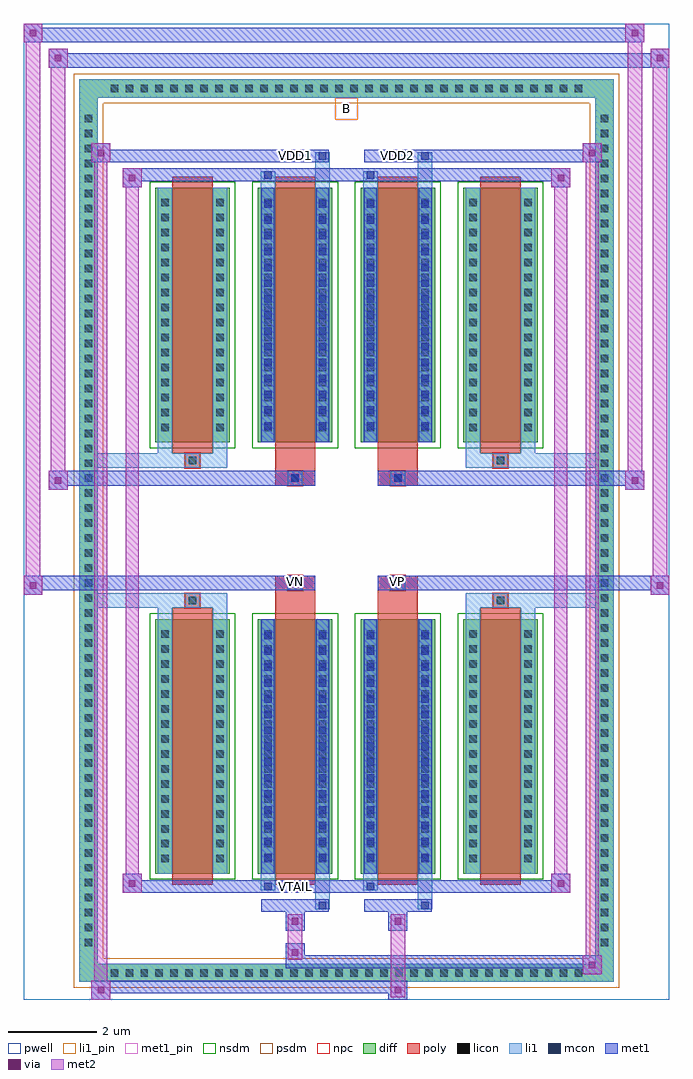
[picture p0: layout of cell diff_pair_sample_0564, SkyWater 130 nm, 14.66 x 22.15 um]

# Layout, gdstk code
import gdstk
lib = gdstk.Library(unit=1e-6, precision=5e-09)
def R(c, l, rs):  # rectangles x0, y0, x1, y1
    for r in rs: c.add(gdstk.rectangle(r[:2], r[2:], *l))
def A(c, l, x, y, w, h, nx, ny, dx, dy):  # array of equal rectangles
    R(c, l, [(x+i*dx, y+j*dy, x+i*dx+w, y+j*dy+h) for i in range(nx) for j in range(ny)])
def P(c, l, *ps):  # polygons
    for p in ps: c.add(gdstk.Polygon(p, *l))
pwell = (64, 44)
diff = (65, 20)
poly = (66, 20)
licon = (66, 44)
li1_pin = (67, 16)
li1 = (67, 20)
mcon = (67, 44)
met1_pin = (68, 16)
met1 = (68, 20)
via = (68, 44)
met2 = (69, 20)
nsdm = (93, 44)
psdm = (94, 20)
npc = (95, 20)

diff_pair_sample_0564 = lib.new_cell('diff_pair_sample_0564')
R(diff_pair_sample_0564, pwell, [(-7.33,-10.64,7.33,11.51), (-4.65,-8.83,-0.01,-0.825), (0.01,-8.83,4.65,-0.825), (-4.65,0.825,-0.01,8.83), (0.01,0.825,4.65,8.83)])
A(diff_pair_sample_0564, diff, -5.475, -10.24, 0.41, 0.41, 32, 2, 0.34, 20.07)
A(diff_pair_sample_0564, diff, -6.06, -9.555, 0.41, 0.41, 1, 56, 0, 0.34)
A(diff_pair_sample_0564, diff, 5.65, -9.555, 0.41, 0.41, 1, 56, 0, 0.34)
A(diff_pair_sample_0564, diff, -4.34, -7.785, 1.69, 5.78, 4, 2, 2.33, 9.79)
R(diff_pair_sample_0564, diff, [(-5.475,-10.24,5.475,-9.83), (-6.06,-9.555,-5.65,9.555), (5.65,-9.555,6.06,9.555), (-5.475,9.83,5.475,10.24)])
P(diff_pair_sample_0564, diff, [(6.06,10.24),(-6.06,10.24),(-6.06,-9.83),(-5.65,-9.83),(-5.65,9.83),(5.65,9.83),(5.65,-9.83),(-5.65,-9.83),(-6.06,-9.83),(-6.06,-10.24),(6.06,-10.24)])
A(diff_pair_sample_0564, poly, -3.95, -8.035, 0.91, 6.28, 4, 2, 2.33, 9.79)
R(diff_pair_sample_0564, poly, [(-3.66,-1.755,-3.33,-1.425), (-3.66,-1.755,-3.33,-1.425), (-1.62,-1.755,-0.71,-1.355), (0.71,-1.755,1.62,-1.355), (3.33,-1.755,3.66,-1.425), (3.33,-1.755,3.66,-1.425), (-1.62,-1.355,-0.71,-1.025), (-1.33,-1.355,-1,-1.025), (0.71,-1.355,1.62,-1.025), (1,-1.355,1.33,-1.025), (-1.62,1.025,-0.71,1.355), (-1.33,1.025,-1,1.355), (0.71,1.025,1.62,1.355), (1,1.025,1.33,1.355), (-1.62,1.355,-0.71,1.755), (0.71,1.355,1.62,1.755), (-3.66,1.425,-3.33,1.755), (-3.66,1.425,-3.33,1.755), (3.33,1.425,3.66,1.755), (3.33,1.425,3.66,1.755)])
A(diff_pair_sample_0564, licon, -5.355, -10.12, 0.17, 0.17, 32, 2, 0.34, 20.07)
A(diff_pair_sample_0564, licon, -5.94, -9.435, 0.17, 0.17, 1, 56, 0, 0.34)
A(diff_pair_sample_0564, licon, 5.77, -9.435, 0.17, 0.17, 1, 56, 0, 0.34)
A(diff_pair_sample_0564, licon, -4.2, -7.53, 0.17, 0.17, 1, 16, 0, 0.34)
A(diff_pair_sample_0564, licon, -2.96, -7.53, 0.17, 0.17, 1, 16, 0, 0.34)
A(diff_pair_sample_0564, licon, -1.87, -7.53, 0.17, 0.17, 1, 16, 0, 0.34)
A(diff_pair_sample_0564, licon, -0.63, -7.53, 0.17, 0.17, 1, 16, 0, 0.34)
A(diff_pair_sample_0564, licon, 0.46, -7.53, 0.17, 0.17, 1, 16, 0, 0.34)
A(diff_pair_sample_0564, licon, 1.7, -7.53, 0.17, 0.17, 1, 16, 0, 0.34)
A(diff_pair_sample_0564, licon, 2.79, -7.53, 0.17, 0.17, 1, 16, 0, 0.34)
A(diff_pair_sample_0564, licon, 4.03, -7.53, 0.17, 0.17, 1, 16, 0, 0.34)
A(diff_pair_sample_0564, licon, -4.2, 2.26, 0.17, 0.17, 1, 16, 0, 0.34)
A(diff_pair_sample_0564, licon, -2.96, 2.26, 0.17, 0.17, 1, 16, 0, 0.34)
A(diff_pair_sample_0564, licon, -1.87, 2.26, 0.17, 0.17, 1, 16, 0, 0.34)
A(diff_pair_sample_0564, licon, -0.63, 2.26, 0.17, 0.17, 1, 16, 0, 0.34)
A(diff_pair_sample_0564, licon, 0.46, 2.26, 0.17, 0.17, 1, 16, 0, 0.34)
A(diff_pair_sample_0564, licon, 1.7, 2.26, 0.17, 0.17, 1, 16, 0, 0.34)
A(diff_pair_sample_0564, licon, 2.79, 2.26, 0.17, 0.17, 1, 16, 0, 0.34)
A(diff_pair_sample_0564, licon, 4.03, 2.26, 0.17, 0.17, 1, 16, 0, 0.34)
R(diff_pair_sample_0564, licon, [(-3.58,-1.675,-3.41,-1.505), (3.41,-1.675,3.58,-1.505), (-1.25,-1.275,-1.08,-1.105), (1.08,-1.275,1.25,-1.105), (-1.25,1.105,-1.08,1.275), (1.08,1.105,1.25,1.275), (-3.58,1.505,-3.41,1.675), (3.41,1.505,3.58,1.675)])
R(diff_pair_sample_0564, li1_pin, [(-0.25,9.33,0.25,9.83)])
A(diff_pair_sample_0564, li1, -5.435, -10.2, 0.33, 0.33, 32, 2, 0.34, 20.07)
A(diff_pair_sample_0564, li1, -6.02, -9.515, 0.33, 0.33, 1, 56, 0, 0.34)
A(diff_pair_sample_0564, li1, 5.69, -9.515, 0.33, 0.33, 1, 56, 0, 0.34)
A(diff_pair_sample_0564, li1, -4.28, -7.61, 0.33, 0.33, 1, 16, 0, 0.34)
A(diff_pair_sample_0564, li1, -3.04, -7.61, 0.33, 0.33, 1, 16, 0, 0.34)
A(diff_pair_sample_0564, li1, -1.95, -7.61, 0.33, 0.33, 1, 16, 0, 0.34)
A(diff_pair_sample_0564, li1, -0.71, -7.61, 0.33, 0.33, 1, 16, 0, 0.34)
A(diff_pair_sample_0564, li1, 0.38, -7.61, 0.33, 0.33, 1, 16, 0, 0.34)
A(diff_pair_sample_0564, li1, 1.62, -7.61, 0.33, 0.33, 1, 16, 0, 0.34)
A(diff_pair_sample_0564, li1, 2.71, -7.61, 0.33, 0.33, 1, 16, 0, 0.34)
A(diff_pair_sample_0564, li1, 3.95, -7.61, 0.33, 0.33, 1, 16, 0, 0.34)
A(diff_pair_sample_0564, li1, -1.87, -7.5, 0.17, 0.17, 1, 15, 0, 0.36)
A(diff_pair_sample_0564, li1, -0.63, -7.5, 0.17, 0.17, 1, 15, 0, 0.36)
A(diff_pair_sample_0564, li1, 0.46, -7.5, 0.17, 0.17, 1, 15, 0, 0.36)
A(diff_pair_sample_0564, li1, 1.7, -7.5, 0.17, 0.17, 1, 15, 0, 0.36)
A(diff_pair_sample_0564, li1, -4.28, 2.18, 0.33, 0.33, 1, 16, 0, 0.34)
A(diff_pair_sample_0564, li1, -3.04, 2.18, 0.33, 0.33, 1, 16, 0, 0.34)
A(diff_pair_sample_0564, li1, -1.95, 2.18, 0.33, 0.33, 1, 16, 0, 0.34)
A(diff_pair_sample_0564, li1, -0.71, 2.18, 0.33, 0.33, 1, 16, 0, 0.34)
A(diff_pair_sample_0564, li1, 0.38, 2.18, 0.33, 0.33, 1, 16, 0, 0.34)
A(diff_pair_sample_0564, li1, 1.62, 2.18, 0.33, 0.33, 1, 16, 0, 0.34)
A(diff_pair_sample_0564, li1, 2.71, 2.18, 0.33, 0.33, 1, 16, 0, 0.34)
A(diff_pair_sample_0564, li1, 3.95, 2.18, 0.33, 0.33, 1, 16, 0, 0.34)
A(diff_pair_sample_0564, li1, -1.87, 2.29, 0.17, 0.17, 1, 15, 0, 0.36)
A(diff_pair_sample_0564, li1, -0.63, 2.29, 0.17, 0.17, 1, 15, 0, 0.36)
A(diff_pair_sample_0564, li1, 0.46, 2.29, 0.17, 0.17, 1, 15, 0, 0.36)
A(diff_pair_sample_0564, li1, 1.7, 2.29, 0.17, 0.17, 1, 15, 0, 0.36)
R(diff_pair_sample_0564, li1, [(-6.06,-10.24,-5.65,-9.83), (-6.06,-10.24,-5.65,-9.83), (-5.65,-10.24,5.65,-9.83), (5.65,-10.24,6.06,-9.83), (5.65,-10.24,6.06,-9.83), (-6.06,-9.83,-5.65,9.83), (5.65,-9.83,6.06,9.83), (-0.71,-8.59,-0.38,-7.785), (-0.63,-8.59,-0.46,-8.42), (1.62,-8.59,1.95,-7.785), (1.7,-8.59,1.87,-8.42), (-1.95,-8.16,-1.62,-7.785), (-1.87,-8.16,-1.7,-7.99), (0.38,-8.16,0.71,-7.785), (0.46,-8.16,0.63,-7.99), (-4.28,-7.785,-3.95,-2.005), (-3.04,-7.785,-2.71,-2.005), (-1.95,-7.785,-1.62,-2.005), (-0.71,-7.785,-0.38,-2.005), (0.38,-7.785,0.71,-2.005), (1.62,-7.785,1.95,-2.005), (2.71,-7.785,3.04,-2.005), (3.95,-7.785,4.28,-2.005), (-1.87,-7.5,-1.7,-2.29), (-0.63,-7.5,-0.46,-2.29), (0.46,-7.5,0.63,-2.29), (1.7,-7.5,1.87,-2.29), (-4.28,-2.005,-3.95,-1.425), (-3.04,-2.005,-2.71,-1.425), (2.71,-2.005,3.04,-1.425), (3.95,-2.005,4.28,-1.425), (-6.06,-1.755,-3.66,-1.425), (-4.28,-1.755,-3.66,-1.425), (-3.66,-1.755,-3.33,-1.425), (-3.33,-1.755,-2.71,-1.425), (2.71,-1.755,3.33,-1.425), (3.33,-1.755,3.66,-1.425), (3.33,-1.755,6.06,-1.425), (3.66,-1.755,4.28,-1.425), (-1.33,-1.355,-1,-1.025), (1,-1.355,1.33,-1.025), (-1.33,1.025,-1,1.355), (1,1.025,1.33,1.355), (-6.06,1.425,-3.66,1.755), (-4.28,1.425,-3.66,1.755), (-4.28,1.425,-3.95,2.005), (-3.66,1.425,-3.33,1.755), (-3.33,1.425,-2.71,1.755), (-3.04,1.425,-2.71,2.005), (2.71,1.425,3.33,1.755), (2.71,1.425,3.04,2.005), (3.33,1.425,3.66,1.755), (3.33,1.425,6.06,1.755), (3.66,1.425,4.28,1.755), (3.95,1.425,4.28,2.005), (-4.28,2.005,-3.95,7.785), (-3.04,2.005,-2.71,7.785), (-1.95,2.005,-1.62,7.785), (-0.71,2.005,-0.38,7.785), (0.38,2.005,0.71,7.785), (1.62,2.005,1.95,7.785), (2.71,2.005,3.04,7.785), (3.95,2.005,4.28,7.785), (-1.87,2.29,-1.7,7.5), (-0.63,2.29,-0.46,7.5), (0.46,2.29,0.63,7.5), (1.7,2.29,1.87,7.5), (-1.95,7.785,-1.62,8.16), (-0.71,7.785,-0.38,8.59), (0.38,7.785,0.71,8.16), (1.62,7.785,1.95,8.59), (-1.87,7.99,-1.7,8.16), (0.46,7.99,0.63,8.16), (-0.63,8.42,-0.46,8.59), (1.7,8.42,1.87,8.59), (-6.06,9.83,-5.65,10.24), (-6.06,9.83,-5.65,10.24), (-5.65,9.83,5.65,10.24), (5.65,9.83,6.06,10.24), (5.65,9.83,6.06,10.24)])
A(diff_pair_sample_0564, mcon, -1.87, -7.5, 0.17, 0.17, 1, 15, 0, 0.36)
A(diff_pair_sample_0564, mcon, -0.63, -7.5, 0.17, 0.17, 1, 15, 0, 0.36)
A(diff_pair_sample_0564, mcon, 0.46, -7.5, 0.17, 0.17, 1, 15, 0, 0.36)
A(diff_pair_sample_0564, mcon, 1.7, -7.5, 0.17, 0.17, 1, 15, 0, 0.36)
A(diff_pair_sample_0564, mcon, -1.87, 2.29, 0.17, 0.17, 1, 15, 0, 0.36)
A(diff_pair_sample_0564, mcon, -0.63, 2.29, 0.17, 0.17, 1, 15, 0, 0.36)
A(diff_pair_sample_0564, mcon, 0.46, 2.29, 0.17, 0.17, 1, 15, 0, 0.36)
A(diff_pair_sample_0564, mcon, 1.7, 2.29, 0.17, 0.17, 1, 15, 0, 0.36)
R(diff_pair_sample_0564, mcon, [(-0.63,-8.59,-0.46,-8.42), (1.7,-8.59,1.87,-8.42), (-1.87,-8.16,-1.7,-7.99), (0.46,-8.16,0.63,-7.99), (-1.25,-1.275,-1.08,-1.105), (1.08,-1.275,1.25,-1.105), (-1.25,1.105,-1.08,1.275), (1.08,1.105,1.25,1.275), (-1.87,7.99,-1.7,8.16), (0.46,7.99,0.63,8.16), (-0.63,8.42,-0.46,8.59), (1.7,8.42,1.87,8.59)])
R(diff_pair_sample_0564, met1_pin, [(-1.3,-8.2,-1.03,-7.93), (-1.3,-1.295,-1.03,-1.025), (1.03,-1.295,1.3,-1.025), (-1.3,8.38,-1.03,8.65), (1.03,8.38,1.3,8.65)])
A(diff_pair_sample_0564, met1, -1.93, -7.56, 0.29, 0.29, 1, 15, 0, 0.36)
A(diff_pair_sample_0564, met1, -0.69, -7.56, 0.29, 0.29, 1, 15, 0, 0.36)
A(diff_pair_sample_0564, met1, 0.4, -7.56, 0.29, 0.29, 1, 15, 0, 0.36)
A(diff_pair_sample_0564, met1, 1.64, -7.56, 0.29, 0.29, 1, 15, 0, 0.36)
A(diff_pair_sample_0564, met1, -1.93, 2.23, 0.29, 0.29, 1, 15, 0, 0.36)
A(diff_pair_sample_0564, met1, -0.69, 2.23, 0.29, 0.29, 1, 15, 0, 0.36)
A(diff_pair_sample_0564, met1, 0.4, 2.23, 0.29, 0.29, 1, 15, 0, 0.36)
A(diff_pair_sample_0564, met1, 1.64, 2.23, 0.29, 0.29, 1, 15, 0, 0.36)
R(diff_pair_sample_0564, met1, [(-5.79,-10.64,-5.36,-10.21), (0.95,-10.64,1.38,-10.21), (-5.79,-10.5,1.38,-10.21), (5.36,-10.07,5.79,-9.64), (-1.38,-9.93,5.79,-9.64), (-1.38,-9.79,-0.95,-9.36), (-1.38,-9.08,-0.95,-8.65), (0.95,-9.08,1.38,-8.65), (-1.93,-8.65,-0.4,-8.36), (-0.69,-8.65,-0.4,-8.36), (0.4,-8.65,1.93,-8.36), (1.64,-8.65,1.93,-8.36), (-5.08,-8.22,-4.65,-7.79), (-5.08,-8.22,-1.93,-7.93), (-1.93,-8.22,-1.64,-7.93), (-1.93,-8.22,-0.4,-7.93), (-0.4,-8.22,0.4,-7.93), (0.4,-8.22,0.69,-7.93), (0.4,-8.22,1.93,-7.93), (1.93,-8.22,5.08,-7.93), (4.65,-8.22,5.08,-7.79), (-1.93,-7.785,-1.64,-2.005), (-0.69,-7.785,-0.4,-2.005), (0.4,-7.785,0.69,-2.005), (1.64,-7.785,1.93,-2.005), (-7.33,-1.455,-6.9,-1.025), (6.9,-1.455,7.33,-1.025), (-7.33,-1.355,-0.71,-1.025), (-1.62,-1.355,-0.71,-1.025), (0.71,-1.355,1.62,-1.025), (0.71,-1.355,7.33,-1.025), (-1.31,-1.335,-1.02,-1.045), (1.02,-1.335,1.31,-1.045), (-6.76,0.925,-6.33,1.355), (6.33,0.925,6.76,1.355), (-6.76,1.025,-1.62,1.355), (-1.62,1.025,-0.71,1.355), (0.71,1.025,1.62,1.355), (1.62,1.025,6.76,1.355), (-1.31,1.045,-1.02,1.335), (1.02,1.045,1.31,1.335), (-1.93,2.005,-1.64,7.785), (-0.69,2.005,-0.4,7.785), (0.4,2.005,0.69,7.785), (1.64,2.005,1.93,7.785), (-5.08,7.79,-4.65,8.22), (4.65,7.79,5.08,8.22), (-5.08,7.93,-1.93,8.22), (-1.93,7.93,-1.64,8.22), (-1.93,7.93,-0.4,8.22), (-0.4,7.93,0.4,8.22), (0.4,7.93,0.69,8.22), (0.4,7.93,1.93,8.22), (1.93,7.93,5.08,8.22), (-5.79,8.36,-5.36,8.79), (-5.79,8.36,-1.93,8.65), (-1.93,8.36,-0.4,8.65), (-0.69,8.36,-0.4,8.65), (0.4,8.36,1.93,8.65), (1.64,8.36,1.93,8.65), (1.93,8.36,5.79,8.65), (5.36,8.36,5.79,8.79), (-6.76,10.51,-6.33,10.94), (-6.76,10.51,-4.65,10.84), (-4.65,10.51,4.65,10.84), (4.65,10.51,7.33,10.84), (6.9,10.51,7.33,10.94), (-7.33,11.08,-6.9,11.51), (-7.33,11.08,-4.65,11.41), (-4.65,11.08,4.65,11.41), (4.65,11.08,6.76,11.41), (6.33,11.08,6.76,11.51)])
R(diff_pair_sample_0564, via, [(-5.65,-10.5,-5.5,-10.35), (1.09,-10.5,1.24,-10.35), (5.5,-9.93,5.65,-9.78), (-1.24,-9.65,-1.09,-9.5), (-1.24,-8.94,-1.09,-8.79), (1.09,-8.94,1.24,-8.79), (-4.94,-8.08,-4.79,-7.93), (4.79,-8.08,4.94,-7.93), (-7.19,-1.315,-7.04,-1.165), (7.04,-1.315,7.19,-1.165), (-6.62,1.065,-6.47,1.215), (6.47,1.065,6.62,1.215), (-4.94,7.93,-4.79,8.08), (4.79,7.93,4.94,8.08), (-5.65,8.5,-5.5,8.65), (5.5,8.5,5.65,8.65), (-6.62,10.65,-6.47,10.8), (7.04,10.65,7.19,10.8), (-7.19,11.22,-7.04,11.37), (6.47,11.22,6.62,11.37)])
R(diff_pair_sample_0564, met2, [(-5.79,-10.64,-5.36,-10.21), (-5.72,-10.64,-5.43,8.79), (-5.43,-10.64,-5.36,-10.21), (-5.74,-10.59,-5.41,-10.26), (1,-10.59,1.33,-10.26), (1,-10.26,1.33,-9.03), (5.36,-10.07,5.79,-9.64), (5.43,-10.07,5.72,8.79), (5.72,-10.07,5.79,-9.64), (5.41,-10.02,5.74,-9.69), (-1.33,-9.74,-1,-9.41), (-1.33,-9.41,-1,-9.03), (-1.33,-9.03,-1,-8.7), (1,-9.03,1.33,-8.7), (-5.08,-8.22,-4.65,-7.79), (-5.01,-8.22,-4.72,8.22), (-4.72,-8.22,-4.65,-7.79), (4.65,-8.22,5.08,-7.79), (4.72,-8.22,5.01,8.22), (5.01,-8.22,5.08,-7.79), (-5.03,-8.17,-4.7,-7.84), (4.7,-8.17,5.03,-7.84), (-7.33,-1.455,-6.9,-1.025), (-7.28,-1.455,-6.95,11.51), (-6.95,-1.455,-6.9,-1.025), (6.9,-1.455,7.33,-1.025), (6.95,-1.455,7.28,10.94), (7.28,-1.455,7.33,-1.025), (-7.28,-1.405,-6.95,-1.075), (6.95,-1.405,7.28,-1.075), (-6.76,0.925,-6.33,1.355), (-6.71,0.925,-6.38,10.94), (-6.38,0.925,-6.33,1.355), (6.33,0.925,6.76,1.355), (6.38,0.925,6.71,11.51), (6.71,0.925,6.76,1.355), (-6.71,0.975,-6.38,1.305), (6.38,0.975,6.71,1.305), (-5.08,7.79,-4.65,8.22), (-4.72,7.79,-4.65,8.22), (4.65,7.79,5.08,8.22), (5.01,7.79,5.08,8.22), (-5.03,7.84,-4.7,8.17), (4.7,7.84,5.03,8.17), (-5.79,8.36,-5.36,8.79), (-5.43,8.36,-5.36,8.79), (5.36,8.36,5.79,8.79), (5.72,8.36,5.79,8.79), (-5.74,8.41,-5.41,8.74), (5.41,8.41,5.74,8.74), (-6.76,10.51,-6.33,10.94), (-6.38,10.51,-6.33,10.94), (6.9,10.51,7.33,10.94), (7.28,10.51,7.33,10.94), (-6.71,10.56,-6.38,10.89), (6.95,10.56,7.28,10.89), (-7.33,11.08,-6.9,11.51), (-6.95,11.08,-6.9,11.51), (6.33,11.08,6.76,11.51), (6.71,11.08,6.76,11.51), (-7.28,11.13,-6.95,11.46), (6.38,11.13,6.71,11.46)])
A(diff_pair_sample_0564, nsdm, -4.47, -7.915, 1.95, 6.04, 4, 2, 2.33, 9.79)
P(diff_pair_sample_0564, psdm, [(6.19,10.37),(-6.19,10.37),(-6.19,-9.7),(-5.52,-9.7),(-5.52,9.7),(5.52,9.7),(5.52,-9.7),(-5.52,-9.7),(-6.19,-9.7),(-6.19,-10.37),(6.19,-10.37)])
R(diff_pair_sample_0564, npc, [(-3.68,-1.775,-3.31,-1.405), (3.31,-1.775,3.68,-1.405), (-1.35,-1.375,-0.98,-1.005), (0.98,-1.375,1.35,-1.005), (-1.35,1.005,-0.98,1.375), (0.98,1.005,1.35,1.375), (-3.68,1.405,-3.31,1.775), (3.31,1.405,3.68,1.775)])
diff_pair_sample_0564.add(gdstk.Label('VTAIL', (-1.165,-8.065), layer=68, texttype=5))
diff_pair_sample_0564.add(gdstk.Label('VN', (-1.165,-1.16), layer=68, texttype=5))
diff_pair_sample_0564.add(gdstk.Label('VP', (1.165,-1.16), layer=68, texttype=5))
diff_pair_sample_0564.add(gdstk.Label('B', (0,9.58), layer=67, texttype=5))
diff_pair_sample_0564.add(gdstk.Label('VDD2', (1.165,8.515), layer=68, texttype=5))
diff_pair_sample_0564.add(gdstk.Label('VDD1', (-1.165,8.515), layer=68, texttype=5))

lib.write_gds('diff_pair_sample_0564.gds')
